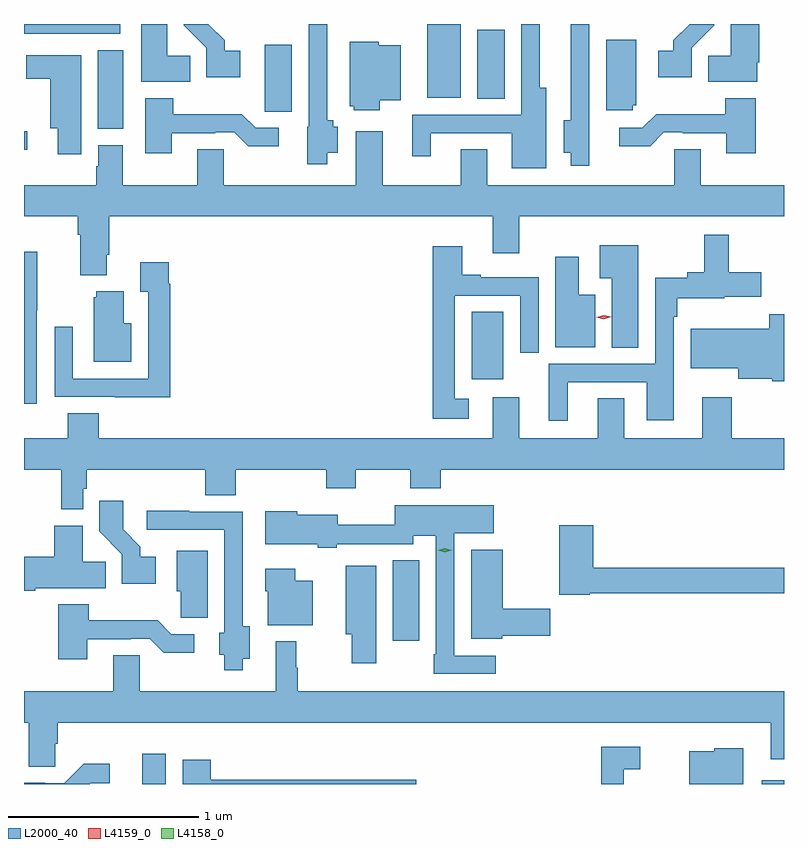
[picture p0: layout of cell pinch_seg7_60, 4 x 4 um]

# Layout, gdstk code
import gdstk
lib = gdstk.Library(unit=1e-6, precision=1e-09)
def R(c, l, rs):  # rectangles x0, y0, x1, y1
    for r in rs: c.add(gdstk.rectangle(r[:2], r[2:], *l))
def P(c, l, *ps):  # polygons
    for p in ps: c.add(gdstk.Polygon(p, *l))
L2000_40 = (2000, 40)
L4158_0 = (4158, 0)
L4159_0 = (4159, 0)

pinch_seg7_60 = lib.new_cell('pinch_seg7_60')
R(pinch_seg7_60, L2000_40, [(887.972,1041.585,888.097,1041.745), (891.234,1041.585,891.35,1041.606), (889.292,1042.338,889.429,1042.763), (889.706,1043.715,889.873,1044.071), (887.35,1044.923,887.368,1045.02), (887.738,1045.033,887.872,1045.448), (889.736,1045.192,889.879,1045.555), (889.472,1045.196,889.648,1045.585), (887.35,1045.533,887.857,1045.585)])
P(pinch_seg7_60, L2000_40, [(891.208,1045.384),(891.221,1045.384),(891.221,1045.585),(891.071,1045.585),(891.071,1045.418),(890.95,1045.418),(890.95,1045.28),(891.208,1045.28)],
  [(890.098,1045.249),(890.065,1045.249),(890.065,1045.585),(889.968,1045.585),(889.968,1045.107),(889.394,1045.107),(889.394,1044.888),(889.492,1044.888),(889.492,1045.011),(889.916,1045.011),(889.916,1044.827),(890.098,1044.827)],
  [(890.865,1045.459),(890.984,1045.578),(890.984,1045.585),(890.855,1045.585),(890.768,1045.499),(890.768,1045.444),(890.688,1045.444),(890.688,1045.304),(890.865,1045.304)],
  [(888.946,1044.908),(889,1044.908),(889,1045.044),(888.978,1045.044),(888.978,1045.079),(888.945,1045.079),(888.945,1045.585),(888.849,1045.585),(888.849,1045.044),(888.842,1045.044),(888.842,1044.848),(888.946,1044.848)],
  [(890.326,1045.062),(890.325,1045.062),(890.325,1045.585),(890.228,1045.585),(890.228,1045.079),(890.192,1045.079),(890.192,1044.908),(890.228,1044.908),(890.228,1044.84),(890.326,1044.84)],
  [(888.224,1045.418),(888.103,1045.418),(888.103,1045.585),(887.966,1045.585),(887.966,1045.28),(888.224,1045.28)],
  [(888.487,1045.444),(888.406,1045.444),(888.406,1045.499),(888.32,1045.585),(888.19,1045.585),(888.19,1045.578),(888.309,1045.459),(888.309,1045.304),(888.487,1045.304)],
  [(890.553,1045.158),(890.572,1045.158),(890.572,1045.502),(890.414,1045.502),(890.414,1045.131),(890.553,1045.131)],
  [(889.222,1045.184),(889.333,1045.184),(889.333,1045.474),(889.218,1045.474),(889.218,1045.492),(889.064,1045.492),(889.064,1045.152),(889.086,1045.152),(889.086,1045.13),(889.222,1045.13)],
  [(888.76,1045.477),(888.617,1045.477),(888.617,1045.234),(888.618,1045.234),(888.618,1045.123),(888.76,1045.123)],
  [(887.65,1045.42),(887.363,1045.42),(887.363,1045.298),(887.489,1045.298),(887.489,1045.037),(887.528,1045.037),(887.528,1044.9),(887.65,1044.9)],
  [(888.127,1045.011),(888.356,1045.011),(888.356,1045.014),(888.456,1045.014),(888.529,1044.941),(888.691,1044.941),(888.691,1045.038),(888.57,1045.038),(888.497,1045.111),(888.135,1045.111),(888.135,1045.195),(887.987,1045.195),(887.987,1044.906),(888.127,1044.906)],
  [(891.2,1045.195),(891.04,1045.195),(891.04,1045.111),(890.677,1045.111),(890.604,1045.038),(890.484,1045.038),(890.484,1044.941),(890.645,1044.941),(890.718,1045.014),(890.818,1045.014),(890.818,1045.011),(891.047,1045.011),(891.047,1044.906),(891.2,1044.906)],
  [(887.785,1044.37),(887.798,1044.37),(887.798,1044.572),(889.817,1044.572),(889.817,1044.378),(889.957,1044.378),(889.957,1044.572),(891.35,1044.572),(891.35,1044.736),(890.911,1044.736),(890.911,1044.926),(890.772,1044.926),(890.772,1044.736),(889.789,1044.736),(889.789,1044.926),(889.649,1044.926),(889.649,1044.736),(889.237,1044.736),(889.237,1045.021),(889.097,1045.021),(889.097,1044.736),(888.402,1044.736),(888.402,1044.926),(888.263,1044.926),(888.263,1044.736),(887.869,1044.736),(887.869,1044.948),(887.741,1044.948),(887.741,1044.837),(887.729,1044.837),(887.729,1044.736),(887.35,1044.736),(887.35,1044.572),(887.633,1044.572),(887.633,1044.476),(887.645,1044.476),(887.645,1044.263),(887.785,1044.263)],
  [(890.212,1043.7),(890.627,1043.7),(890.627,1043.499),(890.769,1043.499),(890.769,1044.044),(890.789,1044.044),(890.789,1044.141),(891.036,1044.141),(891.036,1044.149),(891.229,1044.149),(891.229,1044.279),(891.059,1044.279),(891.059,1044.475),(890.931,1044.475),(890.931,1044.279),(890.84,1044.279),(890.84,1044.25),(890.673,1044.25),(890.673,1043.796),(890.113,1043.796),(890.113,1043.496),(890.212,1043.496)],
  [(890.584,1044.421),(890.381,1044.421),(890.381,1044.248),(890.444,1044.248),(890.444,1043.881),(890.584,1043.881)],
  [(889.69,1043.613),(889.617,1043.613),(889.617,1044.156),(889.962,1044.156),(889.962,1043.856),(890.058,1043.856),(890.058,1044.252),(889.753,1044.252),(889.753,1044.265),(889.657,1044.265),(889.657,1044.415),(889.501,1044.415),(889.501,1043.507),(889.69,1043.507)],
  [(887.418,1044.079),(887.421,1044.079),(887.421,1044.386),(887.35,1044.386),(887.35,1043.586),(887.418,1043.586)],
  [(890.356,1044.16),(890.269,1044.16),(890.269,1044.361),(890.147,1044.361),(890.147,1043.885),(890.356,1043.885)],
  [(888.119,1044.218),(888.112,1044.218),(888.112,1044.331),(887.963,1044.331),(887.963,1044.175),(888.003,1044.175),(888.003,1043.718),(887.607,1043.718),(887.607,1043.992),(887.511,1043.992),(887.511,1043.622),(887.827,1043.622),(887.827,1043.621),(888.119,1043.621)],
  [(887.914,1044.01),(887.875,1044.01),(887.875,1044.178),(887.729,1044.178),(887.729,1044.147),(887.717,1044.147),(887.717,1043.807),(887.914,1043.807)],
  [(891.35,1044.058),(891.272,1044.058),(891.272,1043.98),(890.858,1043.98),(890.858,1043.774),(891.11,1043.774),(891.11,1043.717),(891.288,1043.717),(891.288,1043.705),(891.35,1043.705)],
  [(891.35,1043.404),(891.074,1043.404),(891.074,1043.62),(890.921,1043.62),(890.921,1043.404),(890.509,1043.404),(890.509,1043.615),(890.369,1043.615),(890.369,1043.404),(889.957,1043.404),(889.957,1043.62),(889.817,1043.62),(889.817,1043.404),(887.744,1043.404),(887.744,1043.537),(887.579,1043.537),(887.579,1043.404),(887.35,1043.404),(887.35,1043.24),(887.545,1043.24),(887.545,1043.03),(887.661,1043.03),(887.661,1043.139),(887.681,1043.139),(887.681,1043.24),(888.305,1043.24),(888.305,1043.104),(888.465,1043.104),(888.465,1043.24),(888.94,1043.24),(888.94,1043.141),(889.095,1043.141),(889.095,1043.24),(889.384,1043.24),(889.384,1043.141),(889.544,1043.141),(889.544,1043.24),(891.35,1043.24)],
  [(888.043,1042.78),(887.962,1042.78),(887.962,1042.835),(887.872,1042.925),(887.872,1043.077),(887.746,1043.077),(887.746,1042.914),(887.865,1042.795),(887.865,1042.64),(888.043,1042.64)],
  [(889.834,1042.26),(889.614,1042.26),(889.614,1042.904),(889.822,1042.904),(889.822,1043.053),(889.302,1043.053),(889.302,1042.949),(889,1042.949),(889,1043.002),(888.789,1043.002),(888.789,1043.02),(888.62,1043.02),(888.62,1042.847),(888.896,1042.847),(888.896,1042.828),(888.996,1042.828),(888.996,1042.848),(889.398,1042.848),(889.398,1042.892),(889.518,1042.892),(889.518,1042.267),(889.506,1042.267),(889.506,1042.164),(889.834,1042.164)],
  [(888.502,1042.244),(888.538,1042.244),(888.538,1042.415),(888.501,1042.415),(888.501,1043.019),(888.221,1043.019),(888.221,1043.022),(887.997,1043.022),(887.997,1042.923),(888.405,1042.923),(888.405,1042.38),(888.377,1042.38),(888.377,1042.266),(888.404,1042.266),(888.404,1042.184),(888.502,1042.184)],
  [(890.328,1042.588),(891.35,1042.588),(891.35,1042.724),(890.345,1042.724),(890.345,1042.948),(890.167,1042.948),(890.167,1042.58),(890.328,1042.58)],
  [(887.41,1042.616),(887.78,1042.616),(887.78,1042.754),(887.659,1042.754),(887.659,1042.945),(887.51,1042.945),(887.51,1042.782),(887.35,1042.782),(887.35,1042.603),(887.41,1042.603)],
  [(889.866,1042.366),(890.119,1042.366),(890.119,1042.507),(889.87,1042.507),(889.87,1042.819),(889.703,1042.819),(889.703,1042.349),(889.866,1042.349)],
  [(888.316,1042.813),(888.155,1042.813),(888.155,1042.599),(888.174,1042.599),(888.174,1042.459),(888.316,1042.459)],
  [(889.204,1042.735),(889.043,1042.735),(889.043,1042.373),(889.075,1042.373),(889.075,1042.221),(889.204,1042.221)],
  [(888.871,1042.654),(888.778,1042.654),(888.778,1042.717),(888.62,1042.717),(888.62,1042.599),(888.632,1042.599),(888.632,1042.421),(888.871,1042.421)],
  [(887.683,1042.347),(887.912,1042.347),(887.912,1042.35),(888.012,1042.35),(888.085,1042.277),(888.247,1042.277),(888.247,1042.374),(888.126,1042.374),(888.053,1042.447),(887.691,1042.447),(887.691,1042.531),(887.531,1042.531),(887.531,1042.242),(887.683,1042.242)],
  [(887.514,1041.798),(887.528,1041.798),(887.528,1041.908),(891.281,1041.908),(891.281,1041.714),(891.35,1041.714),(891.35,1042.072),(888.791,1042.072),(888.791,1042.196),(888.784,1042.196),(888.784,1042.336),(888.674,1042.336),(888.674,1042.072),(887.958,1042.072),(887.958,1042.262),(887.819,1042.262),(887.819,1042.072),(887.35,1042.072),(887.35,1041.908),(887.375,1041.908),(887.375,1041.676),(887.514,1041.676)],
  [(890.506,1041.662),(890.593,1041.662),(890.593,1041.781),(890.389,1041.781),(890.389,1041.585),(890.506,1041.585)],
  [(891.136,1041.772),(890.982,1041.772),(890.982,1041.757),(890.852,1041.757),(890.852,1041.585),(891.136,1041.585)],
  [(889.414,1041.607),(888.334,1041.607),(888.334,1041.712),(888.185,1041.712),(888.185,1041.585),(889.414,1041.585)],
  [(887.7,1041.588),(887.8,1041.588),(887.8,1041.691),(887.665,1041.691),(887.562,1041.588),(887.462,1041.588),(887.462,1041.591),(887.35,1041.591),(887.35,1041.585),(887.697,1041.585)])
P(pinch_seg7_60, L4158_0, [(889.565,1042.805),(889.53,1042.814),(889.53,1042.815),(889.53,1042.815),(889.565,1042.825),(889.6,1042.815),(889.6,1042.815),(889.6,1042.814)])
P(pinch_seg7_60, L4159_0, [(890.401,1044.032),(890.361,1044.041),(890.36,1044.042),(890.361,1044.042),(890.401,1044.052),(890.441,1044.043),(890.442,1044.043),(890.441,1044.043)])

lib.write_gds('pinch_seg7_60.gds')
